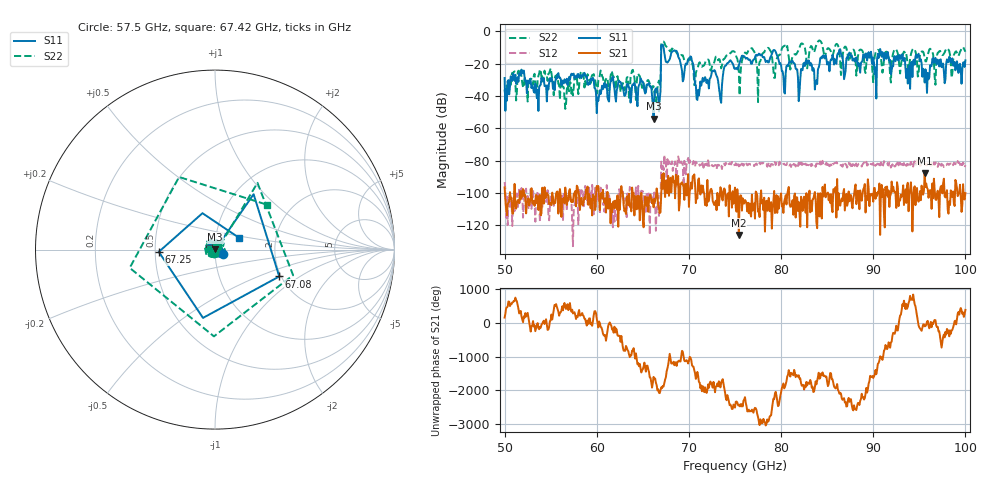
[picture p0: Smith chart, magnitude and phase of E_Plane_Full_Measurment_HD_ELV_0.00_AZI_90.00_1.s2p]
! 11/26/2026 3:13:48 PM
! C:\ANRITSUVNA\TEMP\TEMP.S2P
! CHANNEL.1
! TR.MEASUREMENT
! RAW.DATA
# HZ S RI R 50.0
! FREQ.HZ  S11RE  S11IM  S21RE  S21IM  S12RE  S12IM  S22RE  S22IM
!; PortSelection: Port_12
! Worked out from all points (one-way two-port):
!   601 points, 50 GHz to 100 GHz, reference 50 ohm
!   highest |S21| = -87.71 dB at 95.58 GHz (marker M1); lowest = -126.0 dB at 75.42 GHz (marker M2)
!   lowest |S11| = -54.0 dB at 66.17 GHz (marker M3), VSWR 1.00, Z = 50.1 + j0.142 ohm
!   |S11| at or under -10 dB: start of sweep to 67 GHz; 67.25 GHz to end of sweep
!   |S22| runs from -48.0 to -5.6 dB; largest |S21 - S12| = 0.00016
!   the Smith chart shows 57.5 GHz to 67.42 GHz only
!   S11 on the Smith chart (normalised r, x): 57.5 GHz: 1.09, -0.05; 67.08 GHz: 1.95, -0.69; 67.25 GHz: 0.52, -0.01; 67.42 GHz: 1.29, +0.18
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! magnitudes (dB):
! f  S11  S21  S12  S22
! 50 GHz  -28.9  -96.6  -93.3  -36.0
! 51.67 GHz  -26.3  -98.8  -106.0  -23.4
! 53.42 GHz  -34.8  -101.2  -102.1  -35.6
! 57.5 GHz  -26.1  -100.7  -111.2  -34.8
! 58.42 GHz  -27.1  -107.0  -98.5  -24.7
! 60.17 GHz  -43.0  -95.7  -104.8  -30.4
! 66.17 GHz  -54.0  -108.9  -102.1  -34.0
! 66.67 GHz  -41.6  -107.9  -101.5  -31.7
! 67.08 GHz  -8.2  -88.7  -85.4  -6.8
! 67.25 GHz  -10.1  -87.8  -85.9  -6.3
! 67.42 GHz  -16.6  -102.6  -82.8  -8.3
! 70.25 GHz  -15.9  -93.6  -82.5  -18.8
! 70.92 GHz  -42.5  -103.5  -82.6  -23.1
! 75 GHz  -23.3  -96.7  -82.7  -13.0
! 75.42 GHz  -21.0  -126.0  -83.6  -25.0
! 76.67 GHz  -18.0  -112.8  -82.5  -11.3
! 77.58 GHz  -13.8  -110.3  -82.7  -22.1
! 78.5 GHz  -18.2  -111.1  -83.8  -10.8
! 83.42 GHz  -24.3  -104.0  -83.0  -10.8
! 91.67 GHz  -16.7  -98.5  -83.0  -15.2
! 95.58 GHz  -31.7  -87.7  -81.8  -16.3
! 100 GHz  -17.9  -100.1  -82.8  -12.6
